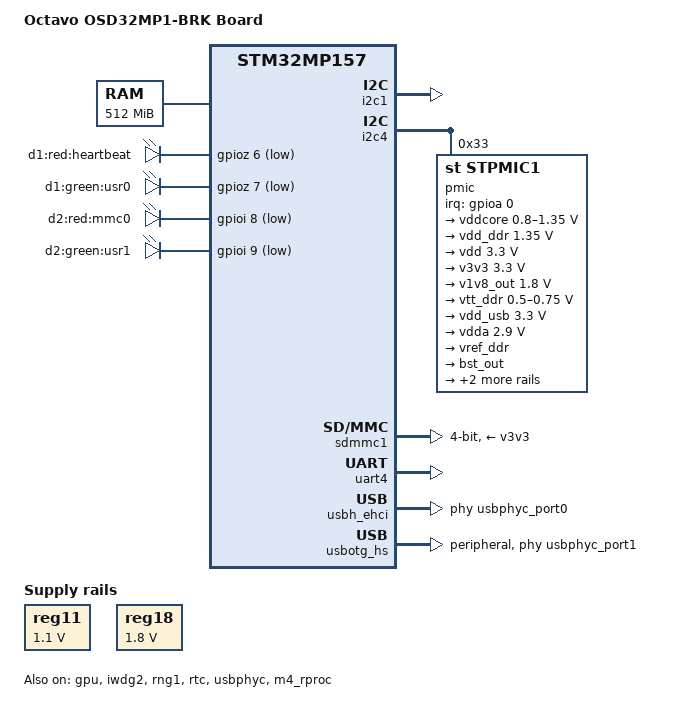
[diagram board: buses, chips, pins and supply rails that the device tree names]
// SPDX-License-Identifier: (GPL-2.0+ OR BSD-3-Clause)
/*
 * Copyright (C) STMicroelectronics 2019 - All Rights Reserved
 * Author: Alexandre Torgue <alexandre.torgue@st.com> for STMicroelectronics.
 */

/dts-v1/;

#include "stm32mp157c.dtsi"
#include "stm32mp157xac-pinctrl.dtsi"
#include <dt-bindings/gpio/gpio.h>
#include <dt-bindings/mfd/st,stpmic1.h>

/ {
	model = "Octavo OSD32MP1-BRK Board";
	compatible = "st,stm32mp157c-rproc-mx", "st,stm32mp157c-dk2", "st,stm32mp157", "octavo,osd32mp1-brk";

	aliases {
		ethernet0 = &ethernet0;
		serial0 = &uart4;
	};

	chosen {
		stdout-path = "serial0:115200n8";
	};

	memory@c0000000 {
		reg = <0xc0000000 0x20000000>;
	};

	reserved-memory {
		#address-cells = <1>;
		#size-cells = <1>;
		ranges;

		gpu_reserved: gpu@d4000000 {
			reg = <0xd4000000 0x4000000>;
			no-map;
		};
	};

	leds {
		compatible = "gpio-leds";
		d1_red {
			label = "d1:red:heartbeat";
			gpios = <&gpioz 6 GPIO_ACTIVE_LOW>;
			linux,default-trigger = "heartbeat";
			default-state = "off";
		};
		d1_green {
			label = "d1:green:usr0";
			gpios = <&gpioz 7 GPIO_ACTIVE_LOW>;
			linux,default-trigger = "off";
			default-state = "off";
		};
		d2_red {
			label = "d2:red:mmc0";
			gpios = <&gpioi 8 GPIO_ACTIVE_LOW>;
			linux,default-trigger = "mmc0";
			default-state = "off";
		};
		d2_green {
			label = "d2:green:usr1";
			gpios = <&gpioi 9 GPIO_ACTIVE_LOW>;
			linux,default-trigger = "off";
			default-state = "off";
		};
	};

	reg11: reg11 {
		compatible = "regulator-fixed";
		regulator-name = "reg11";
		regulator-min-microvolt = <1100000>;
		regulator-max-microvolt = <1100000>;
		regulator-always-on;
	};

	reg18: reg18 {
		compatible = "regulator-fixed";
		regulator-name = "reg18";
		regulator-min-microvolt = <1800000>;
		regulator-max-microvolt = <1800000>;
		regulator-always-on;
	};
};

&gpu {
	contiguous-area = <&gpu_reserved>;
	status = "okay";
};

&i2c1 {
	pinctrl-names = "default", "sleep";
	pinctrl-0 = <&i2c1_pins_a>;
	pinctrl-1 = <&i2c1_pins_sleep_a>;
	i2c-scl-rising-time-ns = <100>;
	i2c-scl-falling-time-ns = <7>;
	status = "okay";
	/delete-property/dmas;
	/delete-property/dma-names;
};

&i2c4 {
	pinctrl-names = "default";
	pinctrl-0 = <&i2c4_pins_a>;
	i2c-scl-rising-time-ns = <185>;
	i2c-scl-falling-time-ns = <20>;
	status = "okay";
	/* spare dmas for other usage */
	/delete-property/dmas;
	/delete-property/dma-names;

	pmic: stpmic@33 {
		compatible = "st,stpmic1";
		reg = <0x33>;
		interrupts-extended = <&gpioa 0 IRQ_TYPE_EDGE_FALLING>;
		interrupt-controller;
		#interrupt-cells = <2>;
		status = "okay";

		regulators {
			compatible = "st,stpmic1-regulators";
			ldo1-supply = <&v3v3>;
			ldo3-supply = <&vdd_ddr>;
			ldo6-supply = <&v3v3>;
			pwr_sw1-supply = <&bst_out>;
			pwr_sw2-supply = <&bst_out>;

			vddcore: buck1 {
				regulator-name = "vddcore";
				regulator-min-microvolt = <800000>;
				regulator-max-microvolt = <1350000>;
				regulator-always-on;
				regulator-initial-mode = <0>;
				regulator-over-current-protection;
			};

			vdd_ddr: buck2 {
				regulator-name = "vdd_ddr";
				regulator-min-microvolt = <1350000>;
				regulator-max-microvolt = <1350000>;
				regulator-always-on;
				regulator-initial-mode = <0>;
				regulator-over-current-protection;
			};

			vdd: buck3 {
				regulator-name = "vdd";
				regulator-min-microvolt = <3300000>;
				regulator-max-microvolt = <3300000>;
				regulator-always-on;
				st,mask-reset;
				regulator-initial-mode = <0>;
				regulator-over-current-protection;
			};

			v3v3: buck4 {
				regulator-name = "v3v3";
				regulator-min-microvolt = <3300000>;
				regulator-max-microvolt = <3300000>;
				regulator-always-on;
				regulator-over-current-protection;
				regulator-initial-mode = <0>;
			};

			v1v8_out: ldo2 {
				regulator-name = "v1v8_out";
				regulator-min-microvolt = <1800000>;
				regulator-max-microvolt = <1800000>;
				regulator-always-on;
				interrupts = <IT_CURLIM_LDO2 0>;
			};

			vtt_ddr: ldo3 {
				regulator-name = "vtt_ddr";
				regulator-min-microvolt = <500000>;
				regulator-max-microvolt = <750000>;
				regulator-always-on;
				regulator-over-current-protection;
			};

			vdd_usb: ldo4 {
				regulator-name = "vdd_usb";
				regulator-min-microvolt = <3300000>;
				regulator-max-microvolt = <3300000>;
				interrupts = <IT_CURLIM_LDO4 0>;
			};

			vdda: ldo5 {
				regulator-name = "vdda";
				regulator-min-microvolt = <2900000>;
				regulator-max-microvolt = <2900000>;
				interrupts = <IT_CURLIM_LDO5 0>;
				regulator-boot-on;
			};

			vref_ddr: vref_ddr {
				regulator-name = "vref_ddr";
				regulator-always-on;
				regulator-over-current-protection;
			};

			bst_out: boost {
				regulator-name = "bst_out";
				interrupts = <IT_OCP_BOOST 0>;
			};

			vbus_otg: pwr_sw1 {
				regulator-name = "vbus_otg";
				interrupts = <IT_OCP_OTG 0>;
			};

			sw_out: pwr_sw2 {
				regulator-name = "sw_out";
				interrupts = <IT_OCP_SWOUT 0>;
				regulator-active-discharge;
				regulator-always-on;
			};
		};


		watchdog {
			compatible = "st,stpmic1-wdt";
			status = "disabled";
		};
	};
};

&ipcc {
	status = "okay";
};

&iwdg2 {
	timeout-sec = <32>;
	status = "okay";
};

&rng1 {
	status = "okay";
};

&rtc {
	status = "okay";
};

&sdmmc1 {
	pinctrl-names = "default", "opendrain", "sleep";
	pinctrl-0 = <&sdmmc1_b4_pins_a>;
	pinctrl-1 = <&sdmmc1_b4_od_pins_a>;
	pinctrl-2 = <&sdmmc1_b4_sleep_pins_a>;
	broken-cd;
	st,neg-edge;
	bus-width = <4>;
	vmmc-supply = <&v3v3>;
	status = "okay";
};

&uart4 {
	pinctrl-names = "default";
	pinctrl-0 = <&uart4_pins_a>;
	status = "okay";
};

&usbh_ehci {
        phys = <&usbphyc_port0>;
        phy-names = "usb";
        status = "okay";
};

&usbotg_hs {
        dr_mode = "peripheral";
        phys = <&usbphyc_port1 0>;
        phy-names = "usb2-phy";
        status = "okay";
};

&usbphyc_port0 {
        phy-supply = <&vdd_usb>;
        vdda1v1-supply = <&reg11>;
        vdda1v8-supply = <&reg18>;
};

&usbphyc_port1 {
        phy-supply = <&vdd_usb>;
        vdda1v1-supply = <&reg11>;
        vdda1v8-supply = <&reg18>;
};

&usbphyc {
        status = "okay";
};

&m4_rproc{
	recovery;
	status = "okay";
	mboxes = <&ipcc 0>, <&ipcc 1>, <&ipcc 2>;
	mbox-names = "vq0", "vq1", "shutdown";
};
